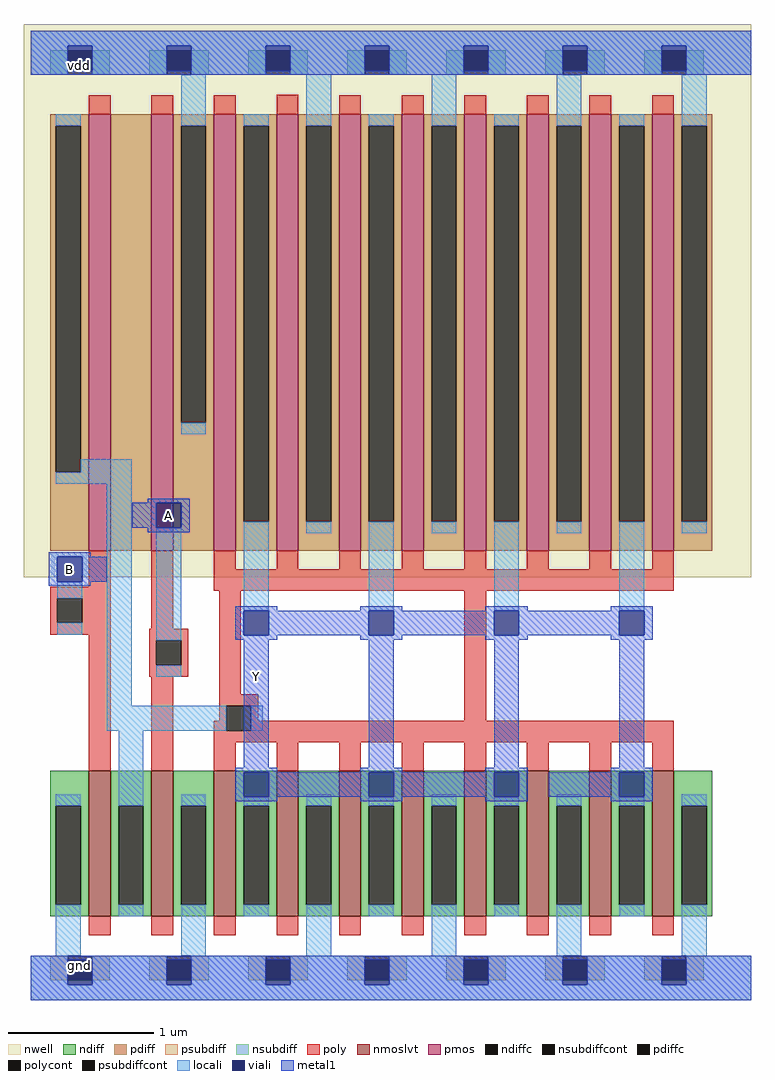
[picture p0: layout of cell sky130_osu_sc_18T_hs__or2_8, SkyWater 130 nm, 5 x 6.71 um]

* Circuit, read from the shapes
.subckt sky130_osu_sc_18T_hs__or2_8 Y A B
XM1 n1 B gnd gnd sky130_fd_pr__nfet_01v8_lvt w=1 l=0.15
XM2 gnd A n1 gnd sky130_fd_pr__nfet_01v8_lvt w=1 l=0.15
XM3 Y n1 gnd gnd sky130_fd_pr__nfet_01v8_lvt w=1 l=0.15 m=8
XM4 n2 B n1 vdd sky130_fd_pr__pfet_01v8 w=3 l=0.15
XM5 vdd A n2 vdd sky130_fd_pr__pfet_01v8 w=3 l=0.15
XM6 Y n1 vdd vdd sky130_fd_pr__pfet_01v8 w=3 l=0.15 m=8
.ends

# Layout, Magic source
magic
tech sky130A
magscale 1 2
<< nwell >>
rect -9 581 990 1341
<< pmos >>
rect 80 617 110 1217
rect 166 617 196 1217
rect 252 617 282 1217
rect 338 617 368 1217
rect 424 617 454 1217
rect 510 617 540 1217
rect 596 617 626 1217
rect 682 617 712 1217
rect 768 617 798 1217
rect 854 617 884 1217
<< nmoslvt >>
rect 80 115 110 315
rect 166 115 196 315
rect 252 115 282 315
rect 338 115 368 315
rect 424 115 454 315
rect 510 115 540 315
rect 596 115 626 315
rect 682 115 712 315
rect 768 115 798 315
rect 854 115 884 315
<< ndiff >>
rect 27 267 80 315
rect 27 131 35 267
rect 69 131 80 267
rect 27 115 80 131
rect 110 267 166 315
rect 110 131 121 267
rect 155 131 166 267
rect 110 115 166 131
rect 196 267 252 315
rect 196 131 207 267
rect 241 131 252 267
rect 196 115 252 131
rect 282 267 338 315
rect 282 131 293 267
rect 327 131 338 267
rect 282 115 338 131
rect 368 267 424 315
rect 368 131 379 267
rect 413 131 424 267
rect 368 115 424 131
rect 454 267 510 315
rect 454 131 465 267
rect 499 131 510 267
rect 454 115 510 131
rect 540 267 596 315
rect 540 131 551 267
rect 585 131 596 267
rect 540 115 596 131
rect 626 267 682 315
rect 626 131 637 267
rect 671 131 682 267
rect 626 115 682 131
rect 712 267 768 315
rect 712 131 723 267
rect 757 131 768 267
rect 712 115 768 131
rect 798 267 854 315
rect 798 131 809 267
rect 843 131 854 267
rect 798 115 854 131
rect 884 267 937 315
rect 884 131 895 267
rect 929 131 937 267
rect 884 115 937 131
<< pdiff >>
rect 27 1201 80 1217
rect 27 725 35 1201
rect 69 725 80 1201
rect 27 617 80 725
rect 110 617 166 1217
rect 196 1201 252 1217
rect 196 793 207 1201
rect 241 793 252 1201
rect 196 617 252 793
rect 282 1201 338 1217
rect 282 657 293 1201
rect 327 657 338 1201
rect 282 617 338 657
rect 368 1201 424 1217
rect 368 657 379 1201
rect 413 657 424 1201
rect 368 617 424 657
rect 454 1201 510 1217
rect 454 657 465 1201
rect 499 657 510 1201
rect 454 617 510 657
rect 540 1201 596 1217
rect 540 657 551 1201
rect 585 657 596 1201
rect 540 617 596 657
rect 626 1201 682 1217
rect 626 657 637 1201
rect 671 657 682 1201
rect 626 617 682 657
rect 712 1201 768 1217
rect 712 657 723 1201
rect 757 657 768 1201
rect 712 617 768 657
rect 798 1201 854 1217
rect 798 657 809 1201
rect 843 657 854 1201
rect 798 617 854 657
rect 884 1201 937 1217
rect 884 657 895 1201
rect 929 657 937 1201
rect 884 617 937 657
<< ndiffc >>
rect 35 131 69 267
rect 121 131 155 267
rect 207 131 241 267
rect 293 131 327 267
rect 379 131 413 267
rect 465 131 499 267
rect 551 131 585 267
rect 637 131 671 267
rect 723 131 757 267
rect 809 131 843 267
rect 895 131 929 267
<< pdiffc >>
rect 35 725 69 1201
rect 207 793 241 1201
rect 293 657 327 1201
rect 379 657 413 1201
rect 465 657 499 1201
rect 551 657 585 1201
rect 637 657 671 1201
rect 723 657 757 1201
rect 809 657 843 1201
rect 895 657 929 1201
<< psubdiff >>
rect 27 27 51 61
rect 85 27 109 61
rect 163 27 187 61
rect 221 27 245 61
rect 299 27 323 61
rect 357 27 381 61
rect 435 27 459 61
rect 493 27 517 61
rect 571 27 595 61
rect 629 27 653 61
rect 707 27 731 61
rect 765 27 789 61
rect 843 27 867 61
rect 901 27 925 61
<< nsubdiff >>
rect 27 1271 51 1305
rect 85 1271 109 1305
rect 163 1271 187 1305
rect 221 1271 245 1305
rect 299 1271 323 1305
rect 357 1271 381 1305
rect 435 1271 459 1305
rect 493 1271 517 1305
rect 571 1271 595 1305
rect 629 1271 653 1305
rect 707 1271 731 1305
rect 765 1271 789 1305
rect 843 1271 867 1305
rect 901 1271 925 1305
<< psubdiffcont >>
rect 51 27 85 61
rect 187 27 221 61
rect 323 27 357 61
rect 459 27 493 61
rect 595 27 629 61
rect 731 27 765 61
rect 867 27 901 61
<< nsubdiffcont >>
rect 51 1271 85 1305
rect 187 1271 221 1305
rect 323 1271 357 1305
rect 459 1271 493 1305
rect 595 1271 629 1305
rect 731 1271 765 1305
rect 867 1271 901 1305
<< poly >>
rect 80 1217 110 1243
rect 166 1217 196 1243
rect 252 1217 282 1243
rect 338 1217 368 1244
rect 424 1217 454 1243
rect 510 1217 540 1243
rect 596 1217 626 1243
rect 682 1217 712 1243
rect 768 1217 798 1243
rect 854 1217 884 1243
rect 80 568 110 617
rect 27 552 110 568
rect 27 518 37 552
rect 71 518 110 552
rect 27 502 110 518
rect 166 510 196 617
rect 252 592 282 617
rect 338 592 368 617
rect 424 592 454 617
rect 510 592 540 617
rect 596 592 626 617
rect 682 592 712 617
rect 768 592 798 617
rect 854 592 884 617
rect 252 562 884 592
rect 80 315 110 502
rect 163 494 217 510
rect 163 460 173 494
rect 207 460 217 494
rect 163 444 217 460
rect 166 315 196 444
rect 259 420 289 562
rect 259 404 313 420
rect 259 384 269 404
rect 252 370 269 384
rect 303 384 313 404
rect 596 384 626 562
rect 303 370 884 384
rect 252 354 884 370
rect 252 315 282 354
rect 338 315 368 354
rect 424 315 454 354
rect 510 315 540 354
rect 596 315 626 354
rect 682 315 712 354
rect 768 315 798 354
rect 854 315 884 354
rect 80 89 110 115
rect 166 89 196 115
rect 252 89 282 115
rect 338 89 368 115
rect 424 89 454 115
rect 510 89 540 115
rect 596 89 626 115
rect 682 89 712 115
rect 768 89 798 115
rect 854 89 884 115
<< polycont >>
rect 37 518 71 552
rect 173 460 207 494
rect 269 370 303 404
<< locali >>
rect 0 1311 990 1332
rect 0 1271 51 1311
rect 85 1271 187 1311
rect 221 1271 323 1311
rect 357 1271 459 1311
rect 493 1271 595 1311
rect 629 1271 731 1311
rect 765 1271 867 1311
rect 901 1271 990 1311
rect 35 1201 69 1217
rect 207 1201 241 1271
rect 207 777 241 793
rect 293 1201 327 1217
rect 69 725 139 743
rect 35 709 139 725
rect 37 552 71 575
rect 37 502 71 518
rect 105 404 139 709
rect 173 494 207 649
rect 293 535 327 657
rect 379 1201 413 1271
rect 379 641 413 657
rect 465 1201 499 1217
rect 465 535 499 657
rect 551 1201 585 1271
rect 551 641 585 657
rect 637 1201 671 1217
rect 637 535 671 657
rect 723 1201 757 1271
rect 723 641 757 657
rect 809 1201 843 1217
rect 809 535 843 657
rect 895 1201 929 1271
rect 895 641 929 657
rect 173 444 207 460
rect 105 370 269 404
rect 303 370 319 404
rect 35 267 69 283
rect 35 61 69 131
rect 121 267 155 370
rect 121 115 155 131
rect 207 267 241 283
rect 207 61 241 131
rect 293 267 327 279
rect 293 115 327 131
rect 379 267 413 283
rect 379 61 413 131
rect 465 267 499 279
rect 465 115 499 131
rect 551 267 585 283
rect 551 61 585 131
rect 637 267 671 279
rect 637 115 671 131
rect 723 267 757 283
rect 723 61 757 131
rect 809 267 843 279
rect 809 115 843 131
rect 895 267 929 283
rect 895 61 929 131
rect 0 21 51 61
rect 85 21 187 61
rect 221 21 323 61
rect 357 21 459 61
rect 493 21 595 61
rect 629 21 731 61
rect 765 21 867 61
rect 901 21 990 61
rect 0 0 990 21
<< viali >>
rect 51 1305 85 1311
rect 51 1277 85 1305
rect 187 1305 221 1311
rect 187 1277 221 1305
rect 323 1305 357 1311
rect 323 1277 357 1305
rect 459 1305 493 1311
rect 459 1277 493 1305
rect 595 1305 629 1311
rect 595 1277 629 1305
rect 731 1305 765 1311
rect 731 1277 765 1305
rect 867 1305 901 1311
rect 867 1277 901 1305
rect 37 575 71 609
rect 173 649 207 683
rect 293 501 327 535
rect 465 501 499 535
rect 637 501 671 535
rect 809 501 843 535
rect 293 279 327 313
rect 465 279 499 313
rect 637 279 671 313
rect 809 279 843 313
rect 51 27 85 55
rect 51 21 85 27
rect 187 27 221 55
rect 187 21 221 27
rect 323 27 357 55
rect 323 21 357 27
rect 459 27 493 55
rect 459 21 493 27
rect 595 27 629 55
rect 595 21 629 27
rect 731 27 765 55
rect 731 21 765 27
rect 867 27 901 55
rect 867 21 901 27
<< metal1 >>
rect 0 1311 990 1332
rect 0 1277 51 1311
rect 85 1277 187 1311
rect 221 1277 323 1311
rect 357 1277 459 1311
rect 493 1277 595 1311
rect 629 1277 731 1311
rect 765 1277 867 1311
rect 901 1277 990 1311
rect 0 1271 990 1277
rect 161 683 219 689
rect 140 649 173 683
rect 207 649 219 683
rect 161 643 219 649
rect 25 609 83 615
rect 25 575 37 609
rect 71 575 105 609
rect 25 569 83 575
rect 281 535 339 541
rect 453 535 511 541
rect 625 535 683 541
rect 797 535 855 541
rect 281 501 293 535
rect 327 501 465 535
rect 499 501 637 535
rect 671 501 809 535
rect 843 501 855 535
rect 281 495 339 501
rect 453 495 511 501
rect 625 495 683 501
rect 797 495 855 501
rect 293 319 327 495
rect 465 319 499 495
rect 637 319 671 495
rect 809 319 843 495
rect 281 313 339 319
rect 453 313 511 319
rect 625 313 683 319
rect 797 313 855 319
rect 281 279 293 313
rect 327 279 465 313
rect 499 279 637 313
rect 671 279 683 313
rect 712 279 809 313
rect 843 279 855 313
rect 281 273 339 279
rect 453 273 511 279
rect 625 273 683 279
rect 797 273 855 279
rect 0 55 990 61
rect 0 21 51 55
rect 85 21 187 55
rect 221 21 323 55
rect 357 21 459 55
rect 493 21 595 55
rect 629 21 731 55
rect 765 21 867 55
rect 901 21 990 55
rect 0 0 990 21
<< labels >>
rlabel metal1 311 444 311 444 1 Y
port 1 n
rlabel metal1 190 666 190 666 1 A
port 2 n
rlabel metal1 54 592 54 592 1 B
port 3 n
rlabel viali 68 48 68 48 1 gnd
rlabel viali 68 1284 68 1284 1 vdd
<< end >>
